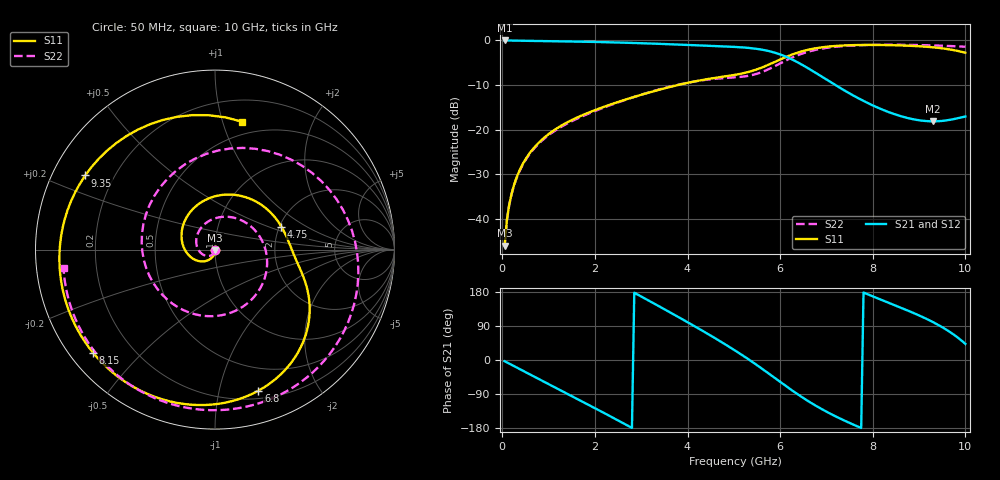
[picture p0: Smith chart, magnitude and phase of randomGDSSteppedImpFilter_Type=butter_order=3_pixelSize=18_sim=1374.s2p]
! freq	dB(S11)	phase(S11)	dB(S12)	phase(S12)
!  dB(S21)	phase(S21)	dB(S22)	phase(S22)
!S-par simulation data
#  GHz  S  DB  R 50
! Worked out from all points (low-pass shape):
!   200 points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, 50 MHz to 10 GHz, reference 50 ohm
!   highest |S21| = 0.00 dB at 50 MHz (marker M1); lowest = -18.1 dB at 9.3 GHz (marker M2)
!   |S21| within 3 dB of the highest: start of sweep to 5.962 GHz
!   lowest |S11| = -46.0 dB at 50 MHz (marker M3), VSWR 1.01, Z = 50 - j0.501 ohm
!   |S11| at or under -10 dB: start of sweep to 3.789 GHz
!   |S22| runs from -46.1 to -1.0 dB; largest |S21 - S12| = 0
!   S11 on the Smith chart (normalised r, x): 50 MHz: 1.00, -0.01; 4.75 GHz: 2.05, +0.62; 6.8 GHz: 0.27, -1.32; 8.15 GHz: 0.07, -0.36; 9.35 GHz: 0.10, +0.26; 10 GHz: 0.38, +1.16
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0.05  -46.01 -89.5  -0.00 -3.2  -0.00 -3.2  -46.10 -91.7
0.2  -34.37 -96.6  -0.03 -12.7  -0.03 -12.7  -34.46 -104.2
0.5  -26.67 -110.8  -0.07 -31.6  -0.07 -31.6  -26.83 -130.3
1.15  -19.89 -139.4  -0.16 -72.7  -0.16 -72.7  -20.14 174.3
1.75  -16.66 -166.3  -0.28 -110.9  -0.28 -110.9  -16.89 123.4
2.6  -13.45 150.3  -0.49 -166.0  -0.49 -166.0  -13.52 55.5
3.4  -11.01 101.3  -0.77 140.8  -0.77 140.8  -10.95 -2.0
4.1  -9.29 56.2  -1.05 92.8  -1.05 92.8  -9.29 -52.1
4.75  -8.15 19.2  -1.32 46.1  -1.32 46.1  -8.47 -107.4
5.05  -7.66 5.6  -1.47 23.2  -1.47 23.2  -8.25 -139.7
5.55  -6.29 -12.5  -1.97 -17.9  -1.97 -17.9  -7.30 153.3
6.05  -4.04 -32.9  -3.33 -62.2  -3.33 -62.2  -4.88 81.3
6.35  -2.83 -48.3  -4.75 -88.1  -4.75 -88.1  -3.44 44.0
6.7  -1.88 -67.5  -6.83 -115.6  -6.83 -115.6  -2.27 7.9
6.8  -1.70 -72.9  -7.47 -122.8  -7.47 -122.8  -2.03 -1.1
7.45  -1.09 -106.2  -11.59 -163.4  -11.59 -163.4  -1.20 -48.4
8.15  -1.01 -139.8  -15.25 160.5  -15.25 160.5  -0.97 -86.3
8.35  -1.05 -149.6  -16.08 150.7  -16.08 150.7  -0.96 -95.9
9.3  -1.54 154.1  -18.13 100.0  -18.13 100.0  -1.11 -139.1
9.35  -1.59 150.2  -18.12 96.8  -18.12 96.8  -1.13 -141.4
9.75  -2.17 112.0  -17.62 66.8  -17.62 66.8  -1.29 -160.4
10  -2.75 78.1  -17.05 42.6  -17.05 42.6  -1.41 -173.2
